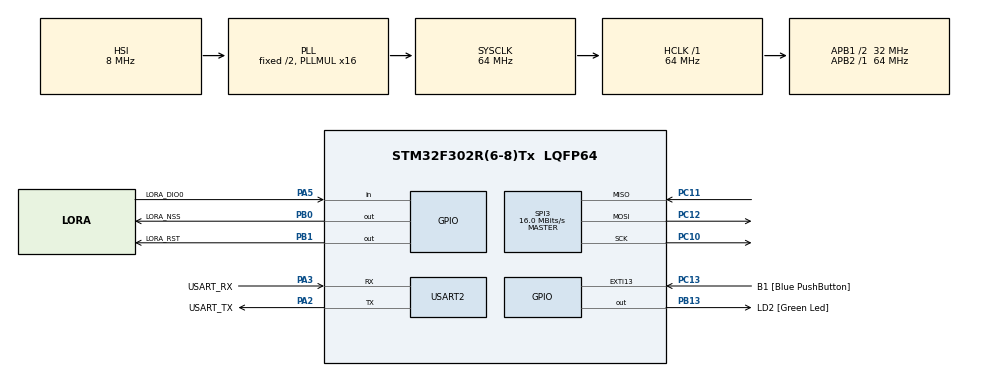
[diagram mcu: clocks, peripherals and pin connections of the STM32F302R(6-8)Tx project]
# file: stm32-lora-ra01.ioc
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Mcu.Family=STM32F3
Mcu.Name=STM32F302R(6-8)Tx
Mcu.Package=LQFP64
NVIC.PriorityGroup=NVIC_PRIORITYGROUP_0
PA13.GPIO_Label=TMS
PA13.Mode=Serial_Wire
PA13.Signal=SYS_JTMS-SWDIO
PA14.GPIO_Label=TCK
PA14.Mode=Serial_Wire
PA14.Signal=SYS_JTCK-SWCLK
PA2.GPIO_Label=USART_TX
PA2.GPIO_Mode=GPIO_MODE_AF_PP
PA2.GPIO_PuPd=GPIO_NOPULL
PA2.GPIO_Speed=GPIO_SPEED_FREQ_LOW
PA2.Mode=Asynchronous
PA2.Signal=USART2_TX
PA3.GPIO_Label=USART_RX
PA3.GPIO_Mode=GPIO_MODE_AF_PP
PA3.GPIO_PuPd=GPIO_NOPULL
PA3.GPIO_Speed=GPIO_SPEED_FREQ_LOW
PA3.Mode=Asynchronous
PA3.Signal=USART2_RX
PA5.GPIO_Label=LORA_DIO0
PA5.Signal=GPIO_Input
PB0.GPIO_Label=LORA_NSS
PB0.Signal=GPIO_Output
PB1.GPIO_Label=LORA_RST
PB1.Signal=GPIO_Output
PB13.GPIO_Label=LD2 [Green Led]
PB13.Signal=GPIO_Output
PB3.GPIO_Label=SWO
PB3.Mode=Trace_Asynchronous_SW
PB3.Signal=SYS_JTDO-TRACESWO
PC10.Mode=Full_Duplex_Master
PC10.Signal=SPI3_SCK
PC11.Mode=Full_Duplex_Master
PC11.Signal=SPI3_MISO
PC12.Mode=Full_Duplex_Master
PC12.Signal=SPI3_MOSI
PC13.GPIO_Label=B1 [Blue PushButton]
PC13.GPIO_ModeDefaultEXTI=GPIO_MODE_IT_FALLING
PC13.Signal=GPXTI13
PC14\ -\ OSC32_IN.Mode=LSE-External-Oscillator
PC14\ -\ OSC32_IN.Signal=RCC_OSC32_IN
PC15\ -\ OSC32_OUT.Mode=LSE-External-Oscillator
PC15\ -\ OSC32_OUT.Signal=RCC_OSC32_OUT
PF0-OSC_IN.Mode=HSE-External-Clock-Source
PF0-OSC_IN.Signal=RCC_OSC_IN
PF1-OSC_OUT.Signal=RCC_OSC_OUT
ProjectManager.HeapSize=0x200
ProjectManager.StackSize=0x400
ProjectManager.TargetToolchain=STM32CubeIDE
RCC.AHBFreq_Value=64000000
RCC.APB1CLKDivider=RCC_HCLK_DIV2
RCC.APB1Freq_Value=32000000
RCC.APB1TimFreq_Value=64000000
RCC.APB2Freq_Value=64000000
RCC.APB2TimFreq_Value=64000000
RCC.CortexFreq_Value=64000000
RCC.HCLKFreq_Value=64000000
RCC.HSE_VALUE=8000000
RCC.HSI_VALUE=8000000
RCC.PLLM=8
RCC.PLLMUL=RCC_PLL_MUL16
RCC.PLLN=336
RCC.PLLP=RCC_PLLP_DIV4
RCC.PLLQ=7
RCC.RCC_PLLsource_Clock_Source_FROM_HSE=RCC_HSE_PREDIV_DIV2
RCC.SYSCLKFreq_VALUE=64000000
RCC.SYSCLKSourceVirtual=RCC_SYSCLKSOURCE_PLLCLK
RCC.USBFreq_Value=64000000
SPI3.CalculateBaudRate=16.0 MBits/s
SPI3.DataSize=SPI_DATASIZE_8BIT
SPI3.Direction=SPI_DIRECTION_2LINES
SPI3.Mode=SPI_MODE_MASTER
SPI3.VirtualType=VM_MASTER
USART2.VirtualMode-Asynchronous=VM_ASYNC
board=NUCLEO-F302R8

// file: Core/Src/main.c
/* USER CODE BEGIN Header */
/**
  ******************************************************************************
  * @file           : main.c
  * @brief          : Main program body
  ******************************************************************************
  * @attention
  *
  * Copyright (c) 2026 STMicroelectronics.
  * All rights reserved.
  *
  * This software is licensed under terms that can be found in the LICENSE file
  * in the root directory of this software component.
  * If no LICENSE file comes with this software, it is provided AS-IS.
  *
  ******************************************************************************
  */
/* USER CODE END Header */
#include "main.h"

/* USER CODE BEGIN Includes */
#include "SX1278.h"
#include <stdio.h>

#define LORA_TX_MODE 0  // Set to 1 to transmit, 0 to receive

/* USER CODE END Includes */

SPI_HandleTypeDef hspi3;

UART_HandleTypeDef huart2;

/* USER CODE BEGIN PV */
SX1278_hw_t SX1278_hw;
SX1278_t SX1278;
int ret;
char buffer[64];
int message = 0;

/* USER CODE END PV */

void SystemClock_Config(void);
static void MX_GPIO_Init(void);
static void MX_SPI3_Init(void);
static void MX_USART2_UART_Init(void);
/* USER CODE BEGIN PFP */
int _write(int file, char *ptr, int len) {
    HAL_UART_Transmit(&huart2, (uint8_t*) ptr, len, 50);
    return len;
}

/* USER CODE END PFP */

int main(void)
{

  /* MCU Configuration--------------------------------------------------------*/

  /* Reset of all peripherals, Initializes the Flash interface and the Systick. */
  HAL_Init();

  /* Configure the system clock */
  SystemClock_Config();

  /* Initialize all configured peripherals */
  MX_GPIO_Init();
  MX_SPI3_Init();
  MX_USART2_UART_Init();
  /* USER CODE BEGIN 2 */
  printf("Boot OK\r\n");

  SX1278_hw.dio0.port = LORA_DIO0_GPIO_Port;
  SX1278_hw.dio0.pin = LORA_DIO0_Pin;
  SX1278_hw.nss.port = LORA_NSS_GPIO_Port;
  SX1278_hw.nss.pin = LORA_NSS_Pin;
  SX1278_hw.reset.port = LORA_RST_GPIO_Port;
  SX1278_hw.reset.pin = LORA_RST_Pin;
  SX1278_hw.spi = &hspi3;

  SX1278.hw = &SX1278_hw;

  SX1278_init(&SX1278, 433000000, SX1278_POWER_10DBM, SX1278_LORA_SF_7,
      SX1278_LORA_BW_125KHZ, SX1278_LORA_CR_4_5, SX1278_LORA_CRC_EN, 10);

  printf("SX1278_init done\r\n");

  // Uncomment here if you want to verify your wiring

//  uint8_t version = SX1278_SPIRead(&SX1278, REG_LR_VERSION);
//  printf("Chip version: 0x%02X\r\n", version);

	#if LORA_TX_MODE
	// Entry into TX mode happens per-packet in the loop below,
	// since payload length varies each time
	#else
	ret = SX1278_LoRaEntryRx(&SX1278, 64, 2000);
	printf("EntryRx ret=%d\r\n", ret);
	#endif

  /* USER CODE END 2 */

  /* Infinite loop */
  /* USER CODE BEGIN WHILE */
  while (1)
  {
	#if LORA_TX_MODE
		int message_length = sprintf(buffer, "Hello from STM32!! %lu", HAL_GetTick());
		ret = SX1278_LoRaEntryTx(&SX1278, message_length, 2000);
		ret = SX1278_LoRaTxPacket(&SX1278, (uint8_t*) buffer, message_length, 2000);
		printf("%d byte packet sent: %s\r\n", message_length, buffer);
		HAL_Delay(1000);
		#else
		ret = SX1278_LoRaRxPacket(&SX1278);
		if (ret > 0) {
			SX1278_read(&SX1278, (uint8_t*) buffer, ret);
			printf("Received (%d): %s\r\n", ret, buffer);
		}
		HAL_Delay(100);
		#endif
  }
  /* USER CODE END 3 */
}

void SystemClock_Config(void)
{
  RCC_OscInitTypeDef RCC_OscInitStruct = {0};
  RCC_ClkInitTypeDef RCC_ClkInitStruct = {0};

  /** Initializes the RCC Oscillators according to the specified parameters
  * in the RCC_OscInitTypeDef structure.
  */
  RCC_OscInitStruct.OscillatorType = RCC_OSCILLATORTYPE_HSI;
  RCC_OscInitStruct.HSIState = RCC_HSI_ON;
  RCC_OscInitStruct.HSICalibrationValue = RCC_HSICALIBRATION_DEFAULT;
  RCC_OscInitStruct.PLL.PLLState = RCC_PLL_ON;
  RCC_OscInitStruct.PLL.PLLSource = RCC_PLLSOURCE_HSI;
  RCC_OscInitStruct.PLL.PLLMUL = RCC_PLL_MUL16;
  if (HAL_RCC_OscConfig(&RCC_OscInitStruct) != HAL_OK)
  {
    Error_Handler();
  }

  /** Initializes the CPU, AHB and APB buses clocks
  */
  RCC_ClkInitStruct.ClockType = RCC_CLOCKTYPE_HCLK|RCC_CLOCKTYPE_SYSCLK
                              |RCC_CLOCKTYPE_PCLK1|RCC_CLOCKTYPE_PCLK2;
  RCC_ClkInitStruct.SYSCLKSource = RCC_SYSCLKSOURCE_PLLCLK;
  RCC_ClkInitStruct.AHBCLKDivider = RCC_SYSCLK_DIV1;
  RCC_ClkInitStruct.APB1CLKDivider = RCC_HCLK_DIV2;
  RCC_ClkInitStruct.APB2CLKDivider = RCC_HCLK_DIV1;

  if (HAL_RCC_ClockConfig(&RCC_ClkInitStruct, FLASH_LATENCY_2) != HAL_OK)
  {
    Error_Handler();
  }
}

static void MX_SPI3_Init(void)
{

  /* SPI3 parameter configuration*/
  hspi3.Instance = SPI3;
  hspi3.Init.Mode = SPI_MODE_MASTER;
  hspi3.Init.Direction = SPI_DIRECTION_2LINES;
  hspi3.Init.DataSize = SPI_DATASIZE_8BIT;
  hspi3.Init.CLKPolarity = SPI_POLARITY_LOW;
  hspi3.Init.CLKPhase = SPI_PHASE_1EDGE;
  hspi3.Init.NSS = SPI_NSS_SOFT;
  hspi3.Init.BaudRatePrescaler = SPI_BAUDRATEPRESCALER_2;
  hspi3.Init.FirstBit = SPI_FIRSTBIT_MSB;
  hspi3.Init.TIMode = SPI_TIMODE_DISABLE;
  hspi3.Init.CRCCalculation = SPI_CRCCALCULATION_DISABLE;
  hspi3.Init.CRCPolynomial = 7;
  hspi3.Init.CRCLength = SPI_CRC_LENGTH_DATASIZE;
  hspi3.Init.NSSPMode = SPI_NSS_PULSE_ENABLE;
  if (HAL_SPI_Init(&hspi3) != HAL_OK)
  {
    Error_Handler();
  }

}

static void MX_USART2_UART_Init(void)
{

  huart2.Instance = USART2;
  huart2.Init.BaudRate = 38400;
  huart2.Init.WordLength = UART_WORDLENGTH_8B;
  huart2.Init.StopBits = UART_STOPBITS_1;
  huart2.Init.Parity = UART_PARITY_NONE;
  huart2.Init.Mode = UART_MODE_TX_RX;
  huart2.Init.HwFlowCtl = UART_HWCONTROL_NONE;
  huart2.Init.OverSampling = UART_OVERSAMPLING_16;
  huart2.Init.OneBitSampling = UART_ONE_BIT_SAMPLE_DISABLE;
  huart2.AdvancedInit.AdvFeatureInit = UART_ADVFEATURE_NO_INIT;
  if (HAL_UART_Init(&huart2) != HAL_OK)
  {
    Error_Handler();
  }

}

static void MX_GPIO_Init(void)
{
  GPIO_InitTypeDef GPIO_InitStruct = {0};

  /* GPIO Ports Clock Enable */
  __HAL_RCC_GPIOC_CLK_ENABLE();
  __HAL_RCC_GPIOF_CLK_ENABLE();
  __HAL_RCC_GPIOA_CLK_ENABLE();
  __HAL_RCC_GPIOB_CLK_ENABLE();

  /*Configure GPIO pin Output Level */
  HAL_GPIO_WritePin(GPIOB, LORA_NSS_Pin|LORA_RST_Pin|LD2_Pin, GPIO_PIN_RESET);

  /*Configure GPIO pin : B1_Pin */
  GPIO_InitStruct.Pin = B1_Pin;
  GPIO_InitStruct.Mode = GPIO_MODE_IT_FALLING;
  GPIO_InitStruct.Pull = GPIO_NOPULL;
  HAL_GPIO_Init(B1_GPIO_Port, &GPIO_InitStruct);

  /*Configure GPIO pin : LORA_DIO0_Pin */
  GPIO_InitStruct.Pin = LORA_DIO0_Pin;
  GPIO_InitStruct.Mode = GPIO_MODE_INPUT;
  GPIO_InitStruct.Pull = GPIO_NOPULL;
  HAL_GPIO_Init(LORA_DIO0_GPIO_Port, &GPIO_InitStruct);

  /*Configure GPIO pins : LORA_NSS_Pin LORA_RST_Pin LD2_Pin */
  GPIO_InitStruct.Pin = LORA_NSS_Pin|LORA_RST_Pin|LD2_Pin;
  GPIO_InitStruct.Mode = GPIO_MODE_OUTPUT_PP;
  GPIO_InitStruct.Pull = GPIO_NOPULL;
  GPIO_InitStruct.Speed = GPIO_SPEED_FREQ_LOW;
  HAL_GPIO_Init(GPIOB, &GPIO_InitStruct);

}

void Error_Handler(void)
{
  __disable_irq();
  while (1)
  {
  }
}
